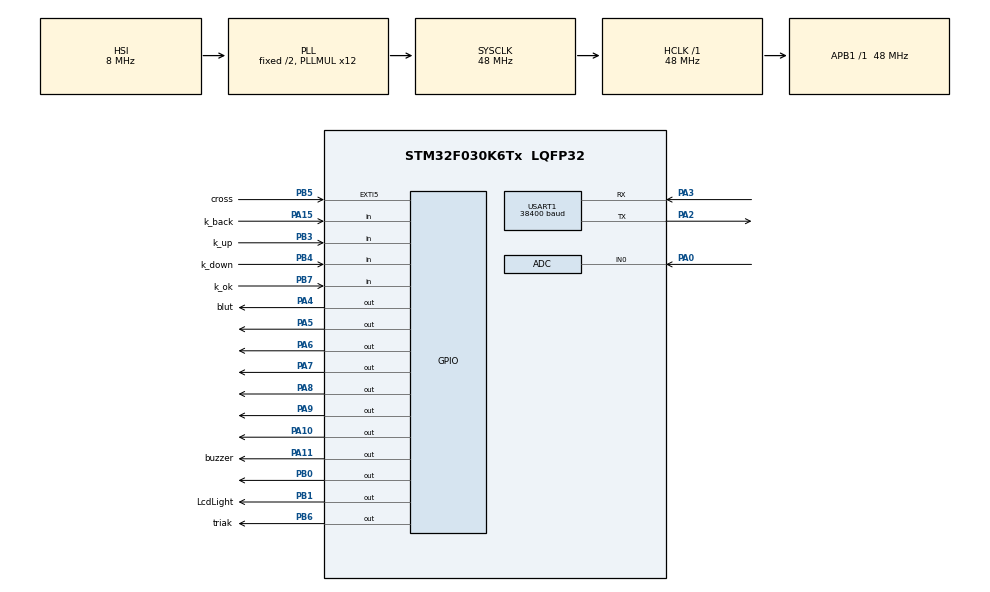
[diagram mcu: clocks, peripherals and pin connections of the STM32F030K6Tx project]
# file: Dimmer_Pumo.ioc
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ADC.ContinuousConvMode=DISABLE
ADC.DiscontinuousConvMode=DISABLE
ADC.EOCSelection=ADC_EOC_SINGLE_CONV
ADC.Overrun=ADC_OVR_DATA_PRESERVED
ADC.SamplingTime=ADC_SAMPLETIME_7CYCLES_5
ADC.ScanConvMode=ADC_SCAN_DIRECTION_FORWARD
IWDG.Prescaler=IWDG_PRESCALER_256
Mcu.Family=STM32F0
Mcu.Name=STM32F030K6Tx
Mcu.Package=LQFP32
NVIC.EXTI4_15_IRQn=true\:0\:0\:true\:false\:true\:true\:true\:true
NVIC.TIM1_BRK_UP_TRG_COM_IRQn=true\:0\:0\:true\:false\:true\:true\:true\:true
NVIC.USART1_IRQn=true\:0\:0\:false\:false\:true\:true\:true\:true
NVIC.WWDG_IRQn=true\:0\:0\:false\:false\:true\:true\:true\:true
PA0.Mode=IN0
PA0.Signal=ADC_IN0
PA10.Signal=GPIO_Output
PA11.GPIO_Label=buzzer
PA11.Signal=GPIO_Output
PA13.Mode=Serial_Wire
PA13.Signal=SYS_SWDIO
PA14.Mode=Serial_Wire
PA14.Signal=SYS_SWCLK
PA15.GPIO_Label=k_back
PA15.Signal=GPIO_Input
PA2.Mode=Asynchronous
PA2.Signal=USART1_TX
PA3.Mode=Asynchronous
PA3.Signal=USART1_RX
PA4.GPIO_Label=blut
PA4.Signal=GPIO_Output
PA5.Signal=GPIO_Output
PA6.Signal=GPIO_Output
PA7.Signal=GPIO_Output
PA8.GPIO_ModeDefaultOutputPP=GPIO_MODE_OUTPUT_OD
PA8.GPIO_PuPd=GPIO_PULLUP
PA8.Signal=GPIO_Output
PA9.GPIO_ModeDefaultOutputPP=GPIO_MODE_OUTPUT_OD
PA9.GPIO_PuPd=GPIO_PULLUP
PA9.Signal=GPIO_Output
PB0.GPIO_ModeDefaultOutputPP=GPIO_MODE_OUTPUT_PP
PB0.GPIO_PuPd=GPIO_NOPULL
PB0.Signal=GPIO_Output
PB1.GPIO_Label=LcdLight
PB1.GPIO_ModeDefaultOutputPP=GPIO_MODE_OUTPUT_PP
PB1.GPIO_PuPd=GPIO_NOPULL
PB1.PinState=GPIO_PIN_SET
PB1.Signal=GPIO_Output
PB3.GPIO_Label=k_up
PB3.Signal=GPIO_Input
PB4.GPIO_Label=k_down
PB4.Signal=GPIO_Input
PB5.GPIO_Label=cross
PB5.GPIO_ModeDefaultEXTI=GPIO_MODE_IT_RISING
PB5.GPIO_PuPd=GPIO_NOPULL
PB5.Signal=GPXTI5
PB6.GPIO_Label=triak
PB6.Signal=GPIO_Output
PB7.GPIO_Label=k_ok
PB7.Signal=GPIO_Input
PF0-OSC_IN.Mode=HSE-External-Oscillator
PF0-OSC_IN.Signal=RCC_OSC_IN
PF1-OSC_OUT.Mode=HSE-External-Oscillator
PF1-OSC_OUT.Signal=RCC_OSC_OUT
ProjectManager.HeapSize=0x200
ProjectManager.StackSize=0x400
ProjectManager.TargetToolchain=EWARM V8.32
RCC.AHBFreq_Value=48000000
RCC.APB1Freq_Value=48000000
RCC.APB1TimFreq_Value=48000000
RCC.HCLKFreq_Value=48000000
RCC.PLLMUL=RCC_PLL_MUL12
RCC.SYSCLKFreq_VALUE=48000000
RCC.SYSCLKSource=RCC_SYSCLKSOURCE_PLLCLK
TIM1.Period=100
TIM1.Prescaler=500
USART1.BaudRate=38400
USART1.VirtualMode-Asynchronous=VM_ASYNC
VP_IWDG_VS_IWDG.Mode=IWDG_Activate
VP_TIM1_VS_ClockSourceINT.Mode=Internal
VP_WWDG_VS_WWDG.Mode=WWDG_Activate
WWDG.Counter=127
WWDG.EWIMode=WWDG_EWI_ENABLE
board=custom

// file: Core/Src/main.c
/* USER CODE BEGIN Header */
/**
******************************************************************************
* @file           : main.c
* @brief          : Main program body
******************************************************************************
* @attention
*
* Copyright (c) 2025 STMicroelectronics.
* All rights reserved.
*
* This software is licensed under terms that can be found in the LICENSE file
* in the root directory of this software component.
* If no LICENSE file comes with this software, it is provided AS-IS.
*
******************************************************************************
*/
/* USER CODE END Header */
#include "main.h"

/* USER CODE BEGIN Includes */
#include <stdio.h>
#include <string.h>
#include <stdlib.h>

//#include "cJSON.h"
/* USER CODE END Includes */

ADC_HandleTypeDef hadc;

IWDG_HandleTypeDef hiwdg;

TIM_HandleTypeDef htim1;

UART_HandleTypeDef huart1;

WWDG_HandleTypeDef hwwdg;

/* USER CODE BEGIN PV */
int zero_cross_flag;
int Voltage;

int SoftVoltage;
int SoftUpCount;
int softTimer1;
int softStart_State=0;
int SecMain;
int SecCount;
//lcd light
int lcdLight=1;

int lcdLightTimer;

//seting
int setting;

uint16_t StartVoltage_eeprom;
uint16_t StartTime_eeprom;
uint16_t SoftTime_eeprom;
uint16_t pressure_eeprom;
uint16_t mode_eeprom;
float Current_eeprom;
uint16_t TurnOnDelay_eeprom;
uint16_t PressureDown_eeprom;
uint16_t ofTimer_eeprom;
float UpCurrent_eeprom;
float DownCurrent_eeprom;
uint16_t TimeHavaKeshi_eeprom;
uint16_t CurrentDownRealizeTime_eeprom;

float Pressure;
float current;
//ADC_HandleTypeDef hadc;
//ADC_ChannelConfTypeDef sConfig = {0};

uint32_t adc_val_ch0 = 0;
uint32_t adc_val_ch1 = 0;
float adc1;
float bar;
int mode;
int modeControlCount;
int menuSelect;
int changeMenu;
char lcdShow[20];

int oftimerCount;
int ofTimer;

int DimerModeTimer;

int volt2;
int timeSoft2;
char ss[100];
int taqsim;
long TimeSet;

int PumpState;
int TurnOnDelay;
int TurnOnDelayTimer;

int currentAlarmTimer;
int CurrentAllarmCount;
int CurrentAlarm;
int currentRealizeTime;
int CurrentFulat;
int TimeReturn;

//*** Uart ***
#define RX_BUFFER_SIZE 290
uint8_t rx_buffer1[RX_BUFFER_SIZE];
uint8_t rx_data1;
volatile uint16_t rx_index1 = 0;
int UartTrigTime;
int UartTrig;
char char_test1[295];
uint32_t last_time;
int uartTimeTest;

int hang;
/* USER CODE END PV */

void SystemClock_Config(void);
static void MX_GPIO_Init(void);
static void MX_ADC_Init(void);
static void MX_USART1_UART_Init(void);
static void MX_TIM1_Init(void);
static void MX_IWDG_Init(void);
static void MX_WWDG_Init(void);

/* USER CODE BEGIN 0 */

#include "delay.c"
#include "nokia1202/nokia1202.c" // YplusOnXbyte = (LedHeight + 7) / 8;
#include "lcd1202.c"
#include "ZeroCross.c"
#include "program.c"
//#include  "Pictures/logopavan.c"
//#include  "Pictures/setting.c"
//#include  "Pictures/settingup.c"
//#include  "Pictures/settingdown.c"
//#include  "Pictures/manualSetting.c"
//#include  "Pictures/autoSetting.c"
//#include  "Pictures/freeScreen.c"
#include "i2c_eeprom/i2c_eeprom.c"
#include "Pictures/menu.c"
//#include "Pictures/Settinglogo.c"
#include "Pictures/StartVoltage.c"
#include "Pictures/Starttime.c"
#include "Pictures/kadr.c"
#include "Pictures/saveEEprom.c"
#include "Pictures/softstarttime.c"
#include "Pictures/tanzimFeshar.c"
//#include "Pictures/devicemode.c"
//#include "Pictures/softset.c"
#include "Pictures/setcontrol.c"
//#include "Pictures/dimermode.c"
#include "Pictures/currensetting.c"
#include "Pictures/tanzimFesharDown.c"
#include "Pictures/OfDelay.c"
#include "Pictures/Ondelay.c"
#include "Pictures/DownCurrent.c"
#include "Pictures/TimeHavaKeshi.c"
#include "Pictures/RealizeTime.c"
#include "checl.c"
#include "uart.c"
//#include "Pictures/pavanlogo.c"

void HAL_TIM_PeriodElapsedCallback(TIM_HandleTypeDef *htim) // 100ms
{

  if (htim->Instance == TIM1) //++count=1000 ---> 1s
  {

    if(softStart_State == 0)softTimer1++;

    ++SecMain;
    if(SecMain >=1000){
      SecMain = 0;
      if(TurnOnDelay == 1)++TurnOnDelayTimer;
      if(oftimerCount == 1)++ofTimer;
      if(lcdLight == 1 && setting ==0) ++lcdLightTimer;
      if(CurrentAllarmCount >= 1)++currentAlarmTimer;
      if(CurrentAlarm >= 1)++currentRealizeTime;
      if(CurrentFulat == 2)++TimeReturn;
      if(lcdLightTimer >= 60 && lcdLight == 1){
        lcdLight = 0;
        lcdLightTimer =0;
        HAL_GPIO_WritePin(LcdLight_GPIO_Port, LcdLight_Pin, GPIO_PIN_RESET);
      }
    }
  }
}

//

/* USER CODE END 0 */

int main(void)
{

  /* MCU Configuration--------------------------------------------------------*/

  /* Reset of all peripherals, Initializes the Flash interface and the Systick. */
  HAL_Init();

  /* Configure the system clock */
  SystemClock_Config();

  /* Initialize all configured peripherals */
  MX_GPIO_Init();
  MX_ADC_Init();
  MX_USART1_UART_Init();
  MX_TIM1_Init();
  MX_IWDG_Init();
  MX_WWDG_Init();
  /* USER CODE BEGIN 2 */
  HAL_TIM_Base_Start_IT(&htim1);
  HAL_UART_Receive_IT(&huart1, &rx_data1, 1);
  HAL_GPIO_WritePin(triak_GPIO_Port, triak_Pin, GPIO_PIN_RESET);
  HAL_GPIO_WritePin(LcdLight_GPIO_Port, LcdLight_Pin, GPIO_PIN_SET);
  //eeprom config
  I2C_init();
  //HAL_Delay(1000);
  if(HAL_GPIO_ReadPin(k_up_GPIO_Port, k_up_Pin) == 0){
    HAL_GPIO_WritePin(blut_GPIO_Port, blut_Pin, GPIO_PIN_SET);

    HAL_GPIO_WritePin(buzzer_GPIO_Port, buzzer_Pin, GPIO_PIN_SET);
    HAL_Delay(2000);
    HAL_GPIO_WritePin(buzzer_GPIO_Port, buzzer_Pin, GPIO_PIN_RESET);
    HAL_Delay(5000);
    show_uart("AT");
    HAL_Delay(1000);
    show_uart("AT");
    HAL_Delay(1000);
    show_uart("AT+NAME=Pump-V1_4");
    HAL_Delay(1000);
    show_uart("AT+UART=38400,0,0");
    HAL_Delay(1000);

    eeprom_write_int16(110,0);
    HAL_Delay(5);
    eeprom_write_int16(2500,10);
    HAL_Delay(5);
    eeprom_write_int16(4000,20);
    HAL_Delay(5);
    eeprom_write_int16(50,30);
    HAL_Delay(5);
    eeprom_write_int16(1,40);
    HAL_Delay(5);
    eeprom_write_int16(25,50);
    HAL_Delay(5);
    eeprom_write_int16(5,60);
    HAL_Delay(5);
    eeprom_write_int16(45,70);
    HAL_Delay(5);
    eeprom_write_int16(10,80);
    HAL_Delay(5);
    eeprom_write_int16(60,90);
    HAL_Delay(5);
    eeprom_write_int16(35,100);
    HAL_Delay(5);
    eeprom_write_int16(15,110);
    HAL_Delay(5);
    eeprom_write_int16(1,120);
    HAL_Delay(5);
    hang = 1;
    HAL_Delay(500);
  }

  StartVoltage_eeprom = eeprom_read_int16(0);
  Voltage = StartVoltage_eeprom;
  HAL_Delay(5);
  StartTime_eeprom = eeprom_read_int16(10);
  HAL_Delay(5);
  SoftTime_eeprom = eeprom_read_int16(20);
  HAL_Delay(5);
  pressure_eeprom = eeprom_read_int16(30);
  HAL_Delay(5);
  mode_eeprom = eeprom_read_int16(40);
  HAL_Delay(5);
  Current_eeprom = eeprom_read_int16(50);
  Current_eeprom /= 10;
  HAL_Delay(5);
  TurnOnDelay_eeprom = eeprom_read_int16(60);
  HAL_Delay(5);
  PressureDown_eeprom = eeprom_read_int16(70);
  HAL_Delay(5);
  ofTimer_eeprom = eeprom_read_int16(80);
  HAL_Delay(5);
  UpCurrent_eeprom = eeprom_read_int16(90);
  UpCurrent_eeprom /=10;
  HAL_Delay(5);
  DownCurrent_eeprom = eeprom_read_int16(100);
  DownCurrent_eeprom /=10;
  HAL_Delay(5);
  TimeHavaKeshi_eeprom = eeprom_read_int16(110);
  HAL_Delay(5);
  CurrentDownRealizeTime_eeprom = eeprom_read_int16(120);
  CurrentDownRealizeTime_eeprom *= 60;
  HAL_Delay(5);

  //LCD
  lcdinit();
  HAL_Delay(5);
  Lcd_Clear();
  Lcd_Refresh();

  HAL_GPIO_WritePin(buzzer_GPIO_Port, buzzer_Pin, GPIO_PIN_SET);
  HAL_Delay(100);
  HAL_GPIO_WritePin(buzzer_GPIO_Port, buzzer_Pin, GPIO_PIN_RESET);

  /* USER CODE END 2 */

  /* Infinite loop */
  /* USER CODE BEGIN WHILE */
  while (1)
  {

    MainCod();
    menu();
    MC60Uart();
    HAL_IWDG_Refresh(&hiwdg);
    /* USER CODE END WHILE */

  }
}

void SystemClock_Config(void)
{
  RCC_OscInitTypeDef RCC_OscInitStruct = {0};
  RCC_ClkInitTypeDef RCC_ClkInitStruct = {0};
  RCC_PeriphCLKInitTypeDef PeriphClkInit = {0};

  /** Initializes the RCC Oscillators according to the specified parameters
  * in the RCC_OscInitTypeDef structure.
  */
  RCC_OscInitStruct.OscillatorType = RCC_OSCILLATORTYPE_HSI|RCC_OSCILLATORTYPE_HSI14
                              |RCC_OSCILLATORTYPE_LSI;
  RCC_OscInitStruct.HSIState = RCC_HSI_ON;
  RCC_OscInitStruct.HSI14State = RCC_HSI14_ON;
  RCC_OscInitStruct.HSICalibrationValue = RCC_HSICALIBRATION_DEFAULT;
  RCC_OscInitStruct.HSI14CalibrationValue = 16;
  RCC_OscInitStruct.LSIState = RCC_LSI_ON;
  RCC_OscInitStruct.PLL.PLLState = RCC_PLL_ON;
  RCC_OscInitStruct.PLL.PLLSource = RCC_PLLSOURCE_HSI;
  RCC_OscInitStruct.PLL.PLLMUL = RCC_PLL_MUL12;
  RCC_OscInitStruct.PLL.PREDIV = RCC_PREDIV_DIV1;
  if (HAL_RCC_OscConfig(&RCC_OscInitStruct) != HAL_OK)
  {
    Error_Handler();
  }

  /** Initializes the CPU, AHB and APB buses clocks
  */
  RCC_ClkInitStruct.ClockType = RCC_CLOCKTYPE_HCLK|RCC_CLOCKTYPE_SYSCLK
                              |RCC_CLOCKTYPE_PCLK1;
  RCC_ClkInitStruct.SYSCLKSource = RCC_SYSCLKSOURCE_PLLCLK;
  RCC_ClkInitStruct.AHBCLKDivider = RCC_SYSCLK_DIV1;
  RCC_ClkInitStruct.APB1CLKDivider = RCC_HCLK_DIV1;

  if (HAL_RCC_ClockConfig(&RCC_ClkInitStruct, FLASH_LATENCY_1) != HAL_OK)
  {
    Error_Handler();
  }
  PeriphClkInit.PeriphClockSelection = RCC_PERIPHCLK_USART1;
  PeriphClkInit.Usart1ClockSelection = RCC_USART1CLKSOURCE_PCLK1;
  if (HAL_RCCEx_PeriphCLKConfig(&PeriphClkInit) != HAL_OK)
  {
    Error_Handler();
  }
}

static void MX_ADC_Init(void)
{

  ADC_ChannelConfTypeDef sConfig = {0};

  /** Configure the global features of the ADC (Clock, Resolution, Data Alignment and number of conversion)
  */
  hadc.Instance = ADC1;
  hadc.Init.ClockPrescaler = ADC_CLOCK_ASYNC_DIV1;
  hadc.Init.Resolution = ADC_RESOLUTION_12B;
  hadc.Init.DataAlign = ADC_DATAALIGN_RIGHT;
  hadc.Init.ScanConvMode = ADC_SCAN_DIRECTION_FORWARD;
  hadc.Init.EOCSelection = ADC_EOC_SINGLE_CONV;
  hadc.Init.LowPowerAutoWait = DISABLE;
  hadc.Init.LowPowerAutoPowerOff = DISABLE;
  hadc.Init.ContinuousConvMode = DISABLE;
  hadc.Init.DiscontinuousConvMode = DISABLE;
  hadc.Init.ExternalTrigConv = ADC_SOFTWARE_START;
  hadc.Init.ExternalTrigConvEdge = ADC_EXTERNALTRIGCONVEDGE_NONE;
  hadc.Init.DMAContinuousRequests = DISABLE;
  hadc.Init.Overrun = ADC_OVR_DATA_PRESERVED;
  if (HAL_ADC_Init(&hadc) != HAL_OK)
  {
    Error_Handler();
  }

  /** Configure for the selected ADC regular channel to be converted.
  */
  sConfig.Channel = ADC_CHANNEL_0;
  sConfig.Rank = ADC_RANK_CHANNEL_NUMBER;
  sConfig.SamplingTime = ADC_SAMPLETIME_7CYCLES_5;
  if (HAL_ADC_ConfigChannel(&hadc, &sConfig) != HAL_OK)
  {
    Error_Handler();
  }

}

static void MX_IWDG_Init(void)
{

  hiwdg.Instance = IWDG;
  hiwdg.Init.Prescaler = IWDG_PRESCALER_256;
  hiwdg.Init.Window = 4095;
  hiwdg.Init.Reload = 4095;
  if (HAL_IWDG_Init(&hiwdg) != HAL_OK)
  {
    Error_Handler();
  }

}

static void MX_TIM1_Init(void)
{

  TIM_ClockConfigTypeDef sClockSourceConfig = {0};
  TIM_MasterConfigTypeDef sMasterConfig = {0};

  htim1.Instance = TIM1;
  htim1.Init.Prescaler = 500;
  htim1.Init.CounterMode = TIM_COUNTERMODE_UP;
  htim1.Init.Period = 100;
  htim1.Init.ClockDivision = TIM_CLOCKDIVISION_DIV1;
  htim1.Init.RepetitionCounter = 0;
  htim1.Init.AutoReloadPreload = TIM_AUTORELOAD_PRELOAD_DISABLE;
  if (HAL_TIM_Base_Init(&htim1) != HAL_OK)
  {
    Error_Handler();
  }
  sClockSourceConfig.ClockSource = TIM_CLOCKSOURCE_INTERNAL;
  if (HAL_TIM_ConfigClockSource(&htim1, &sClockSourceConfig) != HAL_OK)
  {
    Error_Handler();
  }
  sMasterConfig.MasterOutputTrigger = TIM_TRGO_RESET;
  sMasterConfig.MasterSlaveMode = TIM_MASTERSLAVEMODE_DISABLE;
  if (HAL_TIMEx_MasterConfigSynchronization(&htim1, &sMasterConfig) != HAL_OK)
  {
    Error_Handler();
  }

}

static void MX_USART1_UART_Init(void)
{

  huart1.Instance = USART1;
  huart1.Init.BaudRate = 38400;
  huart1.Init.WordLength = UART_WORDLENGTH_8B;
  huart1.Init.StopBits = UART_STOPBITS_1;
  huart1.Init.Parity = UART_PARITY_NONE;
  huart1.Init.Mode = UART_MODE_TX_RX;
  huart1.Init.HwFlowCtl = UART_HWCONTROL_NONE;
  huart1.Init.OverSampling = UART_OVERSAMPLING_16;
  huart1.Init.OneBitSampling = UART_ONE_BIT_SAMPLE_DISABLE;
  huart1.AdvancedInit.AdvFeatureInit = UART_ADVFEATURE_NO_INIT;
  if (HAL_UART_Init(&huart1) != HAL_OK)
  {
    Error_Handler();
  }

}

static void MX_WWDG_Init(void)
{

  hwwdg.Instance = WWDG;
  hwwdg.Init.Prescaler = WWDG_PRESCALER_1;
  hwwdg.Init.Window = 64;
  hwwdg.Init.Counter = 127;
  hwwdg.Init.EWIMode = WWDG_EWI_ENABLE;
  if (HAL_WWDG_Init(&hwwdg) != HAL_OK)
  {
    Error_Handler();
  }

}

static void MX_GPIO_Init(void)
{
  GPIO_InitTypeDef GPIO_InitStruct = {0};

  /* GPIO Ports Clock Enable */
  __HAL_RCC_GPIOF_CLK_ENABLE();
  __HAL_RCC_GPIOA_CLK_ENABLE();
  __HAL_RCC_GPIOB_CLK_ENABLE();

  /*Configure GPIO pin Output Level */
  HAL_GPIO_WritePin(GPIOA, blut_Pin|GPIO_PIN_5|GPIO_PIN_6|GPIO_PIN_7
                          |GPIO_PIN_8|GPIO_PIN_9|GPIO_PIN_10|buzzer_Pin, GPIO_PIN_RESET);

  /*Configure GPIO pin Output Level */
  HAL_GPIO_WritePin(GPIOB, GPIO_PIN_0|triak_Pin, GPIO_PIN_RESET);

  /*Configure GPIO pin Output Level */
  HAL_GPIO_WritePin(LcdLight_GPIO_Port, LcdLight_Pin, GPIO_PIN_SET);

  /*Configure GPIO pins : blut_Pin PA5 PA6 PA7
                           PA10 buzzer_Pin */
  GPIO_InitStruct.Pin = blut_Pin|GPIO_PIN_5|GPIO_PIN_6|GPIO_PIN_7
                          |GPIO_PIN_10|buzzer_Pin;
  GPIO_InitStruct.Mode = GPIO_MODE_OUTPUT_PP;
  GPIO_InitStruct.Pull = GPIO_NOPULL;
  GPIO_InitStruct.Speed = GPIO_SPEED_FREQ_LOW;
  HAL_GPIO_Init(GPIOA, &GPIO_InitStruct);

  /*Configure GPIO pins : PB0 LcdLight_Pin triak_Pin */
  GPIO_InitStruct.Pin = GPIO_PIN_0|LcdLight_Pin|triak_Pin;
  GPIO_InitStruct.Mode = GPIO_MODE_OUTPUT_PP;
  GPIO_InitStruct.Pull = GPIO_NOPULL;
  GPIO_InitStruct.Speed = GPIO_SPEED_FREQ_LOW;
  HAL_GPIO_Init(GPIOB, &GPIO_InitStruct);

  /*Configure GPIO pins : PA8 PA9 */
  GPIO_InitStruct.Pin = GPIO_PIN_8|GPIO_PIN_9;
  GPIO_InitStruct.Mode = GPIO_MODE_OUTPUT_OD;
  GPIO_InitStruct.Pull = GPIO_PULLUP;
  GPIO_InitStruct.Speed = GPIO_SPEED_FREQ_LOW;
  HAL_GPIO_Init(GPIOA, &GPIO_InitStruct);

  /*Configure GPIO pin : k_back_Pin */
  GPIO_InitStruct.Pin = k_back_Pin;
  GPIO_InitStruct.Mode = GPIO_MODE_INPUT;
  GPIO_InitStruct.Pull = GPIO_NOPULL;
  HAL_GPIO_Init(k_back_GPIO_Port, &GPIO_InitStruct);

  /*Configure GPIO pins : k_up_Pin k_down_Pin k_ok_Pin */
  GPIO_InitStruct.Pin = k_up_Pin|k_down_Pin|k_ok_Pin;
  GPIO_InitStruct.Mode = GPIO_MODE_INPUT;
  GPIO_InitStruct.Pull = GPIO_NOPULL;
  HAL_GPIO_Init(GPIOB, &GPIO_InitStruct);

  /*Configure GPIO pin : cross_Pin */
  GPIO_InitStruct.Pin = cross_Pin;
  GPIO_InitStruct.Mode = GPIO_MODE_IT_RISING;
  GPIO_InitStruct.Pull = GPIO_NOPULL;
  HAL_GPIO_Init(cross_GPIO_Port, &GPIO_InitStruct);

  /* EXTI interrupt init*/
  HAL_NVIC_SetPriority(EXTI4_15_IRQn, 0, 0);
  HAL_NVIC_EnableIRQ(EXTI4_15_IRQn);

}

/* USER CODE BEGIN 4 */
void HAL_WWDG_EarlyWakeupCallback(WWDG_HandleTypeDef *hwwdg)
{
    if(hang == 0) HAL_WWDG_Refresh(hwwdg);
}
/* USER CODE END 4 */

void Error_Handler(void)
{
          __disable_irq();
          while (1)
          {
          }
}
